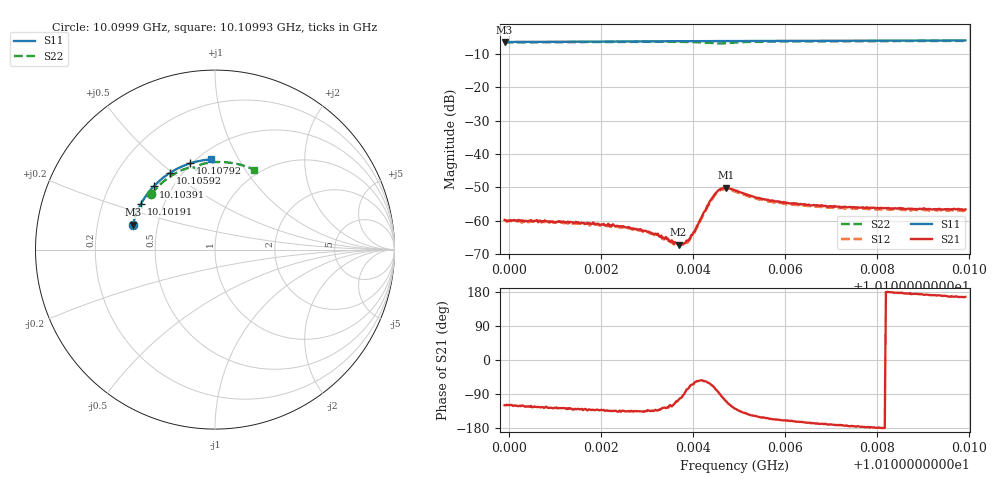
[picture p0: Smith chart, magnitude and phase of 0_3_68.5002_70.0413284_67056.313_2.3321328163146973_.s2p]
#  HZ  S  RI  R  50.00
! Rohde & Schwarz Vector Network Analyzer
! Rohde-Schwarz,ZNB20-2Port,1311601062101988,3.16
! Created: UTC 3/20/2024, 5:03:44 PM
! freq[Hz]  re:S11  im:S11  re:S21  im:S21  re:S12  im:S12  re:S22  im:S22
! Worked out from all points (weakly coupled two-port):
!   401 points, 10.0999 GHz to 10.10993 GHz, reference 50 ohm
!   highest |S21| = -50.15 dB at 10.10472 GHz (marker M1); lowest = -67.3 dB at 10.10369 GHz (marker M2)
!   lowest |S11| = -6.4 dB at 10.0999 GHz (marker M3), VSWR 2.83, Z = 18 + j6.52 ohm
!   |S11| at or under -10 dB: nowhere
!   |S22| runs from -6.8 to -6.1 dB; largest |S21 - S12| = 0.00032
!   S11 on the Smith chart (normalised r, x): 10.0999 GHz: 0.36, +0.13; 10.10191 GHz: 0.37, +0.25; 10.10391 GHz: 0.39, +0.37; 10.10592 GHz: 0.43, +0.49; 10.10792 GHz: 0.49, +0.63; 10.10993 GHz: 0.58, +0.78
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1.0099903e10  -0.457 0.1397  -0.000498 -0.000891  -0.000407 -0.000901  -0.3539 0.3103
1.010078e10  -0.4415 0.191  -0.000582 -0.000821  -0.000508 -0.000797  -0.3163 0.3524
1.0101582e10  -0.4222 0.2357  -0.000588 -0.000723  -0.000522 -0.000708  -0.2772 0.3869
1.0101908e10  -0.4131 0.2534  -0.000575 -0.00067  -0.000546 -0.000673  -0.2602 0.3996
1.010266e10  -0.3893 0.2924  -0.000529 -0.000548  -0.000487 -0.000588  -0.2185 0.4259
1.0102986e10  -0.378 0.3087  -0.000492 -0.000484  -0.000425 -0.000527  -0.1993 0.436
1.0103262e10  -0.3678 0.3221  -0.000379 -0.00044  -0.000367 -0.000469  -0.1822 0.444
1.0103688e10  -0.3511 0.3417  -0.000114 -0.000416  -5.01e-05 -0.000422  -0.154 0.4539
1.0103813e10  -0.3461 0.3475  7.5e-06 -0.000457  5.28e-05 -0.000456  -0.1451 0.4562
1.0103914e10  -0.3419 0.3519  0.000144 -0.00049  0.000179 -0.00046  -0.1375 0.4574
1.0104039e10  -0.3366 0.3574  0.000351 -0.000586  0.000399 -0.000543  -0.128 0.4582
1.010434e10  -0.3237 0.3702  0.000854 -0.00152  0.000969 -0.00138  -0.1057 0.4525
1.010444e10  -0.3192 0.3744  0.000799 -0.00212  0.000933 -0.00198  -0.1017 0.4472
1.0104565e10  -0.3137 0.3793  0.000145 -0.00288  0.000392 -0.00272  -0.1027 0.4427
1.0104716e10  -0.3068 0.3854  -0.000966 -0.00295  -0.000666 -0.00288  -0.1061 0.4464
1.0104916e10  -0.2978 0.3933  -0.00177 -0.00223  -0.00148 -0.00227  -0.1013 0.4588
1.0105368e10  -0.2763 0.4102  -0.00188 -0.00119  -0.00173 -0.00128  -0.0723 0.4758
1.0105919e10  -0.2486 0.429  -0.00175 -0.000691  -0.00164 -0.000802  -0.0347 0.4846
1.0106596e10  -0.213 0.4494  -0.00164 -0.000397  -0.00154 -0.000535  0.01 0.4885
1.0107925e10  -0.139 0.4805  -0.00156 -4.96e-05  -0.00147 -0.000196  0.0957 0.4827
1.0108276e10  -0.1187 0.4864  -0.00152 1.52e-05  -0.00143 -0.000113  0.1178 0.4784
1.010993e10  -0.0201 0.5029  -0.00143 0.000343  -0.00141 0.000208  0.2178 0.4454
